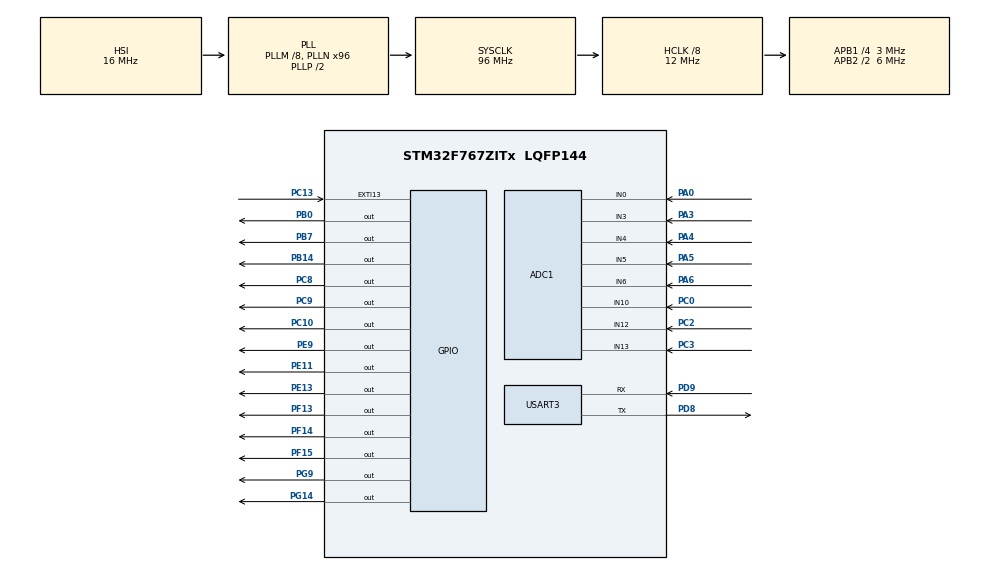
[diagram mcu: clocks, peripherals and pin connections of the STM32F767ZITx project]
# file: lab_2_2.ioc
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ADC1.Channel-0\#ChannelRegularConversion=ADC_CHANNEL_0
ADC1.Channel-1\#ChannelRegularConversion=ADC_CHANNEL_3
ADC1.Channel-2\#ChannelRegularConversion=ADC_CHANNEL_4
ADC1.Channel-3\#ChannelRegularConversion=ADC_CHANNEL_5
ADC1.Channel-4\#ChannelRegularConversion=ADC_CHANNEL_6
ADC1.Channel-5\#ChannelRegularConversion=ADC_CHANNEL_10
ADC1.Channel-6\#ChannelRegularConversion=ADC_CHANNEL_12
ADC1.Channel-7\#ChannelRegularConversion=ADC_CHANNEL_13
ADC1.ClockPrescaler=ADC_CLOCK_SYNC_PCLK_DIV8
ADC1.ContinuousConvMode=ENABLE
ADC1.DMAContinuousRequests=ENABLE
ADC1.EOCSelection=ADC_EOC_SINGLE_CONV
ADC1.NbrOfConversion=8
ADC1.NbrOfConversionFlag=1
ADC1.Rank-0\#ChannelRegularConversion=1
ADC1.Rank-1\#ChannelRegularConversion=2
ADC1.Rank-2\#ChannelRegularConversion=3
ADC1.Rank-3\#ChannelRegularConversion=4
ADC1.Rank-4\#ChannelRegularConversion=5
ADC1.Rank-5\#ChannelRegularConversion=6
ADC1.Rank-6\#ChannelRegularConversion=7
ADC1.Rank-7\#ChannelRegularConversion=8
ADC1.SamplingTime-0\#ChannelRegularConversion=ADC_SAMPLETIME_15CYCLES
ADC1.SamplingTime-1\#ChannelRegularConversion=ADC_SAMPLETIME_15CYCLES
ADC1.SamplingTime-2\#ChannelRegularConversion=ADC_SAMPLETIME_15CYCLES
ADC1.SamplingTime-3\#ChannelRegularConversion=ADC_SAMPLETIME_15CYCLES
ADC1.SamplingTime-4\#ChannelRegularConversion=ADC_SAMPLETIME_15CYCLES
ADC1.SamplingTime-5\#ChannelRegularConversion=ADC_SAMPLETIME_15CYCLES
ADC1.SamplingTime-6\#ChannelRegularConversion=ADC_SAMPLETIME_15CYCLES
ADC1.SamplingTime-7\#ChannelRegularConversion=ADC_SAMPLETIME_15CYCLES
ADC1.ScanConvMode=ADC_SCAN_ENABLE
ADC1.master=1
Dma.ADC1.0.Direction=DMA_PERIPH_TO_MEMORY
Dma.ADC1.0.FIFOMode=DMA_FIFOMODE_DISABLE
Dma.ADC1.0.Instance=DMA2_Stream0
Dma.ADC1.0.MemDataAlignment=DMA_MDATAALIGN_WORD
Dma.ADC1.0.MemInc=DMA_MINC_ENABLE
Dma.ADC1.0.Mode=DMA_CIRCULAR
Dma.ADC1.0.PeriphDataAlignment=DMA_PDATAALIGN_WORD
Dma.ADC1.0.PeriphInc=DMA_PINC_DISABLE
Dma.ADC1.0.Priority=DMA_PRIORITY_LOW
Dma.Request0=ADC1
Mcu.Family=STM32F7
Mcu.Name=STM32F767ZITx
Mcu.Package=LQFP144
NVIC.DMA2_Stream0_IRQn=true\:1\:0\:true\:false\:true\:false\:true
NVIC.PriorityGroup=NVIC_PRIORITYGROUP_2
PA0/WKUP.Signal=ADCx_IN0
PA3.Signal=ADCx_IN3
PA4.Signal=ADCx_IN4
PA5.Signal=ADCx_IN5
PA6.Signal=ADCx_IN6
PB0.Signal=GPIO_Output
PB14.Signal=GPIO_Output
PB7.Signal=GPIO_Output
PC0.Signal=ADCx_IN10
PC10.Signal=GPIO_Output
PC13.Signal=GPXTI13
PC2.Signal=ADCx_IN12
PC3.Signal=ADCx_IN13
PC8.Signal=GPIO_Output
PC9.Signal=GPIO_Output
PD8.Mode=Asynchronous
PD8.Signal=USART3_TX
PD9.Mode=Asynchronous
PD9.Signal=USART3_RX
PE11.Signal=GPIO_Output
PE13.Signal=GPIO_Output
PE9.Signal=GPIO_Output
PF13.Signal=GPIO_Output
PF14.Signal=GPIO_Output
PF15.Signal=GPIO_Output
PG14.Signal=GPIO_Output
PG9.Signal=GPIO_Output
ProjectManager.HeapSize=0x200
ProjectManager.StackSize=0x400
ProjectManager.TargetToolchain=MDK-ARM V5.27
RCC.AHBCLKDivider=RCC_SYSCLK_DIV8
RCC.AHBFreq_Value=12000000
RCC.APB1CLKDivider=RCC_HCLK_DIV4
RCC.APB1Freq_Value=3000000
RCC.APB1TimFreq_Value=6000000
RCC.APB2CLKDivider=RCC_HCLK_DIV2
RCC.APB2Freq_Value=6000000
RCC.APB2TimFreq_Value=12000000
RCC.CortexFreq_Value=12000000
RCC.HCLKFreq_Value=12000000
RCC.HSE_VALUE=25000000
RCC.HSI_VALUE=16000000
RCC.LSE_VALUE=32768
RCC.PLLM=8
RCC.PLLN=96
RCC.SYSCLKFreq_VALUE=96000000
RCC.SYSCLKSource=RCC_SYSCLKSOURCE_PLLCLK
RCC.USBFreq_Value=96000000
RCC.VCOOutputFreq_Value=192000000
SH.ADCx_IN0.0=ADC1_IN0,IN0
SH.ADCx_IN10.0=ADC1_IN10,IN10
SH.ADCx_IN12.0=ADC1_IN12,IN12
SH.ADCx_IN13.0=ADC1_IN13,IN13
SH.ADCx_IN3.0=ADC1_IN3,IN3
SH.ADCx_IN4.0=ADC1_IN4,IN4
SH.ADCx_IN5.0=ADC1_IN5,IN5
SH.ADCx_IN6.0=ADC1_IN6,IN6
USART3.Parity=PARITY_NONE
USART3.VirtualMode-Asynchronous=VM_ASYNC
board=custom

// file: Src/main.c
/* USER CODE BEGIN Header */
/**
  ******************************************************************************
  * @file           : main.c
  * @brief          : Main program body
  ******************************************************************************
  * @attention
  *
  * <h2><center>&copy; Copyright (c) 2020 STMicroelectronics.
  * All rights reserved.</center></h2>
  *
  * This software component is licensed by ST under BSD 3-Clause license,
  * the "License"; You may not use this file except in compliance with the
  * License. You may obtain a copy of the License at:
  *                        opensource.org/licenses/BSD-3-Clause
  *
  ******************************************************************************
  */
/* USER CODE END Header */

#include "main.h"
#include "adc.h"
#include "dma.h"
#include "usart.h"
#include "gpio.h"

/* USER CODE BEGIN Includes */
#include "stdio.h"
#include "string.h"
/* USER CODE END Includes */

/* USER CODE BEGIN PD */
#define LAB 55
/* USER CODE END PD */

/* USER CODE BEGIN PV */
#if LAB==11
uint8_t num=0;
#elif LAB == 22
#elif LAB == 23
uint32_t ledState ;

#elif LAB == 24
uint32_t ledTemp;
uint32_t initLed = 1;
uint16_t bitNum[8];
uint16_t shift = 0;

#elif LAB == 33
char input;
char display[] = "Input =>";
char newLine[] ="\r\n";
char quit[] = "QUIT";
#elif LAB == 34
char description[]="Display Blinking LED PRESS (r, g) \r\nDisplay Group Members PRESS m \r\nQuit PRESS q\r\n";
char question[]="\tInput =>";
char answer;
char quit[] = "QUIT";
char unknown[] = "Unknown Command \r\n";
char member[]="61010707 \r\nPasawee Laearun \r\n";
int isDisplay=0;
char newLine[] ="\r\n";

#elif LAB == 41
#elif LAB ==01
	uint8_t n;
#elif LAB ==02
char display[] = "07P";
#elif LAB == 54
volatile uint32_t adc_val = 0;
#elif LAB == 55
uint32_t adc_val[8000];
char newLine[] ="\r\n";
//char display[] = "07P";
#endif

/* USER CODE END PV */

void SystemClock_Config(void);
/* USER CODE BEGIN PFP */
void bitConvert(uint32_t);
void displayHEX(uint32_t);
void LedControl(GPIO_PinState LED3,GPIO_PinState LED2,GPIO_PinState LED1,GPIO_PinState LED0);
#if LAB ==55
void HAL_ADC_ConvCpltCallback(ADC_HandleTypeDef *AdcHandle)
 {
 HAL_GPIO_WritePin(GPIOB,GPIO_PIN_7,GPIO_PIN_RESET );
 }

void HAL_ADC_ConvHalfCpltCallback(ADC_HandleTypeDef *AdcHandle)
 {
 HAL_GPIO_WritePin(GPIOB,GPIO_PIN_7,GPIO_PIN_SET);
 }
#endif

/* USER CODE END PFP */

int main(void)
{

  /* MCU Configuration--------------------------------------------------------*/

  /* Reset of all peripherals, Initializes the Flash interface and the Systick. */
  HAL_Init();

  /* Configure the system clock */
  SystemClock_Config();

  /* Initialize all configured peripherals */
  MX_GPIO_Init();
  MX_USART3_UART_Init();
	MX_DMA_Init();
  MX_ADC1_Init();

  /* USER CODE BEGIN 2 */
	#if LAB == 24
  GPIOG->ODR = 0xFFFFFFFF;
	GPIOF->ODR = 0xFFFFFFFF;
	GPIOE->ODR = 0xFFFFFFFF;
	#endif
	#if LAB == 34
	HAL_GPIO_WritePin(GPIOG,GPIO_PIN_9,GPIO_PIN_SET);
	HAL_GPIO_WritePin(GPIOG,GPIO_PIN_14,GPIO_PIN_SET);
	#endif
	#if LAB == 54
	HAL_ADC_Start(&hadc1);
	#endif
  /* USER CODE END 2 */

  /* Infinite loop */
  /* USER CODE BEGIN WHILE */
	#if LAB ==55
	 HAL_ADC_Start_DMA(&hadc1,adc_val,8000);
	#endif
 while (1)
  {
    /* USER CODE END WHILE */

    /* USER CODE BEGIN 3 */
		#if LAB == 11
		if(num <=7)
		{
			num++;
		}
		else
			num = 0;
		GPIOB->ODR ^= GPIO_PIN_0;
		HAL_Delay(500);
		#endif
		#if LAB == 22
		if(HAL_GPIO_ReadPin(GPIOA,GPIO_PIN_0)==GPIO_PIN_RESET){
			HAL_GPIO_WritePin(GPIOB,GPIO_PIN_0,GPIO_PIN_SET);
			HAL_Delay(1000);
		  HAL_GPIO_WritePin(GPIOB,GPIO_PIN_0,GPIO_PIN_RESET);
		}
		#endif
		#if LAB == 23
		if(HAL_GPIO_ReadPin(GPIOA,GPIO_PIN_0)==GPIO_PIN_RESET){
			HAL_GPIO_WritePin(GPIOB,GPIO_PIN_0,GPIO_PIN_SET);
			ledState = ((GPIOB->ODR))&0x01;
			HAL_Delay(1000);
		  HAL_GPIO_WritePin(GPIOB,GPIO_PIN_0,GPIO_PIN_RESET);
			ledState = ((GPIOB->ODR))&0x01;
		}
		#endif
		#if LAB == 24
			if(HAL_GPIO_ReadPin(GPIOA,GPIO_PIN_0)==GPIO_PIN_RESET){
				ledTemp = initLed << shift;

				bitConvert(ledTemp);

				shift++;
				if(shift > 7)
					shift = 0;

				HAL_Delay(300);
			}
			if(HAL_GPIO_ReadPin(GPIOC,GPIO_PIN_13)==GPIO_PIN_SET){
				for(int count = 7 ; count >= 0 ; count--){
					ledTemp = initLed << count;

					bitConvert(ledTemp);

				  HAL_Delay(500);
				}
				// Close Alll Led
				  GPIOG->ODR = 0xFFFFFFFF;
	        GPIOF->ODR = 0xFFFFFFFF;
	        GPIOE->ODR = 0xFFFFFFFF;
			}
		#endif
		#if LAB == 31
		char str[] = "Hello, World!!\n\r";

    HAL_UART_Transmit(&huart3, (uint8_t*) str, strlen(str),1000);
    HAL_Delay(500);

		#endif
		#if LAB == 32
		char ch1='A';
    while(__HAL_UART_GET_FLAG(&huart3,UART_FLAG_TC)==RESET){}
    HAL_UART_Transmit(&huart3, (uint8_t*)&ch1,1,1000);
    HAL_Delay(500);

		#endif
		#if LAB == 33

    while(__HAL_UART_GET_FLAG(&huart3,UART_FLAG_TC)==RESET){}
    HAL_UART_Transmit(&huart3, (uint8_t*) display, strlen(display),1000);

		while(__HAL_UART_GET_FLAG(&huart3,UART_FLAG_RXNE)==RESET){}
		HAL_UART_Receive(&huart3, (uint8_t*)&input, 1,1000);
		HAL_UART_Transmit(&huart3, (uint8_t*)&input, 1,1000);
		HAL_UART_Transmit(&huart3, (uint8_t*)newLine, strlen(newLine),1000);

		if(input=='q'){
			HAL_UART_Transmit(&huart3, (uint8_t*)quit, strlen(quit),1000);
			while(1){}
		}
    HAL_Delay(500);
		#endif
		#if LAB == 34

		while(__HAL_UART_GET_FLAG(&huart3,UART_FLAG_TC)==RESET){}
		if(!isDisplay)
		{
			HAL_UART_Transmit(&huart3, (uint8_t*) description, strlen(description),1000);
			isDisplay++;
		}
		HAL_UART_Transmit(&huart3, (uint8_t*) question, strlen(question),1000);

		while(__HAL_UART_GET_FLAG(&huart3,UART_FLAG_RXNE)==RESET){}
		HAL_UART_Receive(&huart3, (uint8_t*)&answer, 1,1000);
		HAL_UART_Transmit(&huart3, (uint8_t*)&answer, 1,1000);
		HAL_UART_Transmit(&huart3, (uint8_t*)newLine, strlen(newLine),1000);

		if(answer=='q'){
			HAL_UART_Transmit(&huart3, (uint8_t*)quit, strlen(quit),1000);
			while(1){}
		}else if(answer =='r'){
			for(int i = 0;i<6;i++){
					GPIOG->ODR ^= GPIO_PIN_9;
					HAL_Delay(300);
			}
			HAL_GPIO_WritePin(GPIOG,GPIO_PIN_9,GPIO_PIN_SET);
		}else if(answer =='g'){
			for(int i = 0;i<6;i++){
					GPIOG->ODR ^= GPIO_PIN_14;
					HAL_Delay(300);
			}
			HAL_GPIO_WritePin(GPIOG,GPIO_PIN_14,GPIO_PIN_SET);
		}else if(answer =='m'){
			HAL_UART_Transmit(&huart3, (uint8_t*)member, strlen(member),1000);

		}else{
			HAL_UART_Transmit(&huart3, (uint8_t*)unknown, strlen(unknown),1000);
		}
		#endif
		#if LAB == 41

		HAL_UART_Transmit(&huart3,(uint8_t *)".",1,100);
		HAL_Delay(400);
		#endif
		#if LAB == 01
			for(n = 0;n<=2;n++){
					GPIOC ->BSRR = 0x07000000;
					HAL_Delay(50);

					GPIOC ->BSRR = 0x00000400 >> n;
					HAL_Delay(50);

			}
		#endif
		#if LAB == 02
	 	while(__HAL_UART_GET_FLAG(&huart3,UART_FLAG_TC)==RESET){}
    HAL_UART_Transmit(&huart3, (uint8_t*) display, strlen(display),1000);

		while(__HAL_UART_GET_FLAG(&huart4,UART_FLAG_TC)==RESET){}
		//GPIOB->ODR ^= GPIO_PIN_0;
    HAL_UART_Transmit(&huart4, (uint8_t*) display, strlen(display),1000);
		HAL_Delay(500);
		#endif
		#if LAB == 54
		uint32_t display = 501;
		while(HAL_ADC_PollForConversion(&hadc1 ,100) != HAL_OK){}
		adc_val = HAL_ADC_GetValue(&hadc1);
		displayHEX(adc_val);
		HAL_Delay(400);
		#endif
		#if LAB == 55

		char display[800];

		for(int i = 0 ; i < 8 ;i ++){
			sprintf(display, "0x%08x ", adc_val[i]);
			while(__HAL_UART_GET_FLAG(&huart3,UART_FLAG_TC)==RESET){}
			HAL_UART_Transmit(&huart3, (uint8_t*) display, strlen(display),1000);
		}

		while(__HAL_UART_GET_FLAG(&huart3,UART_FLAG_TC)==RESET){}
		HAL_UART_Transmit(&huart3, (uint8_t*) newLine, strlen(newLine),1000);
		#endif

  }
  /* USER CODE END 3 */
}

void SystemClock_Config(void)
{
  RCC_OscInitTypeDef RCC_OscInitStruct = {0};
  RCC_ClkInitTypeDef RCC_ClkInitStruct = {0};
  RCC_PeriphCLKInitTypeDef PeriphClkInitStruct = {0};

  /** Configure the main internal regulator output voltage
  */
  __HAL_RCC_PWR_CLK_ENABLE();
  __HAL_PWR_VOLTAGESCALING_CONFIG(PWR_REGULATOR_VOLTAGE_SCALE3);
  /** Initializes the CPU, AHB and APB busses clocks
  */
  RCC_OscInitStruct.OscillatorType = RCC_OSCILLATORTYPE_HSI;
  RCC_OscInitStruct.HSIState = RCC_HSI_ON;
  RCC_OscInitStruct.HSICalibrationValue = RCC_HSICALIBRATION_DEFAULT;
  RCC_OscInitStruct.PLL.PLLState = RCC_PLL_ON;
  RCC_OscInitStruct.PLL.PLLSource = RCC_PLLSOURCE_HSI;
  RCC_OscInitStruct.PLL.PLLM = 8;
  RCC_OscInitStruct.PLL.PLLN = 96;
  RCC_OscInitStruct.PLL.PLLP = RCC_PLLP_DIV2;
  RCC_OscInitStruct.PLL.PLLQ = 2;
  if (HAL_RCC_OscConfig(&RCC_OscInitStruct) != HAL_OK)
  {
    Error_Handler();
  }
  /** Initializes the CPU, AHB and APB busses clocks
  */
  RCC_ClkInitStruct.ClockType = RCC_CLOCKTYPE_HCLK|RCC_CLOCKTYPE_SYSCLK
                              |RCC_CLOCKTYPE_PCLK1|RCC_CLOCKTYPE_PCLK2;
  RCC_ClkInitStruct.SYSCLKSource = RCC_SYSCLKSOURCE_PLLCLK;
  RCC_ClkInitStruct.AHBCLKDivider = RCC_SYSCLK_DIV8;
  RCC_ClkInitStruct.APB1CLKDivider = RCC_HCLK_DIV4;
  RCC_ClkInitStruct.APB2CLKDivider = RCC_HCLK_DIV2;

  if (HAL_RCC_ClockConfig(&RCC_ClkInitStruct, FLASH_LATENCY_0) != HAL_OK)
  {
    Error_Handler();
  }
  PeriphClkInitStruct.PeriphClockSelection = RCC_PERIPHCLK_USART3;
  PeriphClkInitStruct.Usart3ClockSelection = RCC_USART3CLKSOURCE_PCLK1;
  if (HAL_RCCEx_PeriphCLKConfig(&PeriphClkInitStruct) != HAL_OK)
  {
    Error_Handler();
  }
}

/* USER CODE BEGIN 4 */
#if LAB == 24
void bitConvert(uint32_t ledTemp){
		for(int index = 0 ; index <= 7 ; index++){
			bitNum[index] = (ledTemp >> index) & 0x01;
		}
		GPIOG->ODR = ~(bitNum[7] <<9 | bitNum[6] << 14);
		GPIOF->ODR =~(bitNum[5] <<15 | bitNum[3] <<14 | bitNum[0] <<13);
		GPIOE->ODR = ~(bitNum[4]<<13 | bitNum[2] << 11 | bitNum[1] <<9);
}

#elif LAB == 41
void HAL_GPIO_EXTI_Callback(uint16_t GPIO_Pin)
{
	if(GPIO_Pin == GPIO_PIN_13){
		HAL_UART_Transmit(&huart3,(uint8_t *)"---",3,100);
		HAL_Delay(200);
		for(int i = 0 ; i<20;i++){
			HAL_UART_Transmit(&huart3,(uint8_t *)"B",1,100);
			HAL_Delay(200);
		}
	}

	if(GPIO_Pin == GPIO_PIN_0){
		HAL_UART_Transmit(&huart3,(uint8_t *)"---",3,100);
		HAL_Delay(200);
		for(int i = 0 ; i<20;i++){
			HAL_UART_Transmit(&huart3,(uint8_t *)"E",1,100);
			HAL_Delay(200);
		}
	}
}
#elif LAB == 54
void displayHEX(uint32_t input){
		char display[80];
		sprintf(display, "ADC_CH10 0x%08x Vin = %f v raw value = %d \r\n ", input, (input * 3.3)/4095, input);

		while(__HAL_UART_GET_FLAG(&huart3,UART_FLAG_TC)==RESET){}
    HAL_UART_Transmit(&huart3, (uint8_t*) display, strlen(display),1000);

		if(input > 0 && input < 819){
		 // LEVEL 1
			LedControl(GPIO_PIN_SET,GPIO_PIN_SET,GPIO_PIN_SET,GPIO_PIN_SET);
		}
		else if(input > 819 && input < 1638){
		 // LEVEL 2
			LedControl(GPIO_PIN_SET,GPIO_PIN_SET,GPIO_PIN_SET,GPIO_PIN_RESET);
		}	else if(input > 1638 && input < 2457){
		 // LEVEL 2
			LedControl(GPIO_PIN_SET,GPIO_PIN_SET,GPIO_PIN_RESET,GPIO_PIN_RESET);
		}
		else if(input > 2457 && input < 3276){
		 // LEVEL 2
			LedControl(GPIO_PIN_SET,GPIO_PIN_RESET,GPIO_PIN_RESET,GPIO_PIN_RESET);
		}
		else if(input > 3276 && input < 4095){
		 // LEVEL 2
			LedControl(GPIO_PIN_RESET,GPIO_PIN_RESET,GPIO_PIN_RESET,GPIO_PIN_RESET);
		}
		else{
		}
}

void LedControl(GPIO_PinState LED3,GPIO_PinState LED2,GPIO_PinState LED1,GPIO_PinState LED0){
			HAL_GPIO_WritePin(GPIOF,GPIO_PIN_13,LED0);
			HAL_GPIO_WritePin(GPIOE,GPIO_PIN_9,LED1);
			HAL_GPIO_WritePin(GPIOE,GPIO_PIN_11,LED2);
			HAL_GPIO_WritePin(GPIOF,GPIO_PIN_14,LED3);
}
#elif LAB == 55

#endif
/* USER CODE END 4 */

void Error_Handler(void)
{
}

/************************ (C) COPYRIGHT STMicroelectronics *****END OF FILE****/
